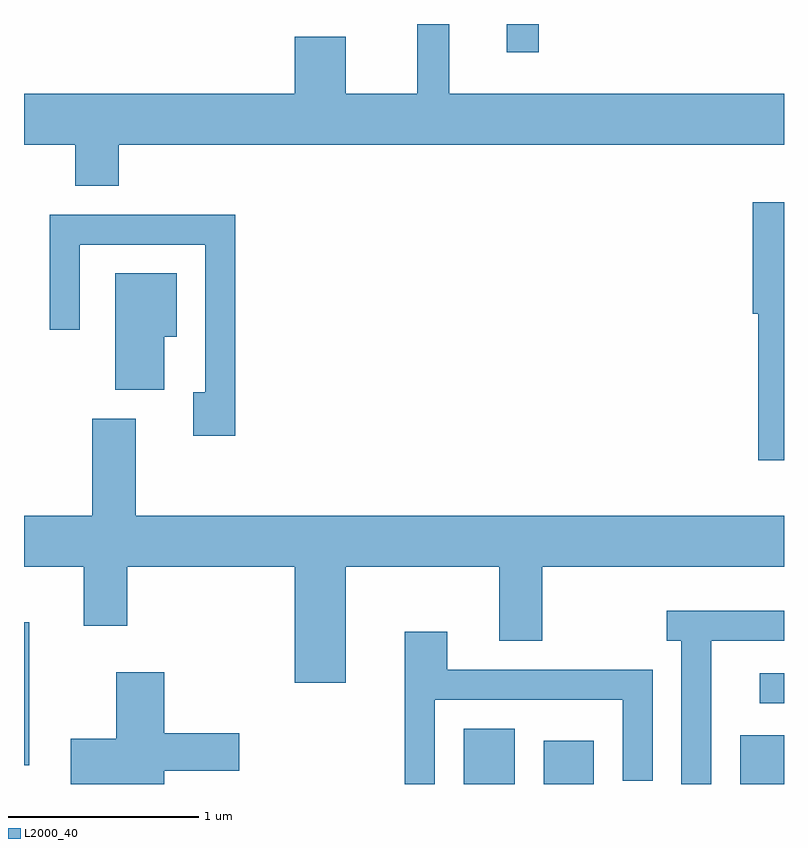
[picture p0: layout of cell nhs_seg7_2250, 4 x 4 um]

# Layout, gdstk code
import gdstk
lib = gdstk.Library(unit=1e-6, precision=1e-09)
def R(c, l, rs):  # rectangles x0, y0, x1, y1
    for r in rs: c.add(gdstk.rectangle(r[:2], r[2:], *l))
def P(c, l, *ps):  # polygons
    for p in ps: c.add(gdstk.Polygon(p, *l))
L2000_40 = (2000, 40)

nhs_seg7_2250 = lib.new_cell('nhs_seg7_2250')
R(nhs_seg7_2250, L2000_40, [(255.926,1744.252,256.194,1744.544), (256.346,1744.252,256.609,1744.479), (257.381,1744.252,257.611,1744.509), (253.611,1744.351,253.639,1745.104), (257.483,1744.676,257.611,1744.834), (256.151,1748.103,256.319,1748.252)])
P(nhs_seg7_2250, L2000_40, [(254.109,1747.616),(257.611,1747.616),(257.611,1747.884),(255.849,1747.884),(255.849,1748.252),(255.681,1748.252),(255.681,1747.884),(255.304,1747.884),(255.304,1748.184),(255.036,1748.184),(255.036,1747.884),(253.611,1747.884),(253.611,1747.616),(253.881,1747.616),(253.881,1747.401),(254.109,1747.401)],
  [(257.611,1747.314),(257.446,1747.314),(257.446,1746.726),(257.476,1746.726),(257.476,1745.956),(257.611,1745.956)],
  [(254.724,1747.249),(253.746,1747.249),(253.746,1746.643),(253.904,1746.643),(253.904,1747.091),(254.566,1747.091),(254.566,1746.314),(254.501,1746.314),(254.501,1746.086),(254.724,1746.086)],
  [(254.349,1746.606),(254.414,1746.606),(254.414,1746.939),(254.091,1746.939),(254.091,1746.326),(254.349,1746.326)],
  [(255.304,1745.396),(256.111,1745.396),(256.111,1745.006),(256.339,1745.006),(256.339,1745.396),(257.611,1745.396),(257.611,1745.664),(254.199,1745.664),(254.199,1746.174),(253.971,1746.174),(253.971,1745.664),(253.611,1745.664),(253.611,1745.396),(253.926,1745.396),(253.926,1745.086),(254.154,1745.086),(254.154,1745.396),(255.036,1745.396),(255.036,1744.786),(255.304,1744.786)],
  [(257.229,1745.006),(257.611,1745.006),(257.611,1745.164),(256.993,1745.164),(256.993,1745.006),(257.071,1745.006),(257.071,1744.252),(257.229,1744.252)],
  [(255.774,1744.696),(256.761,1744.696),(256.761,1744.268),(256.919,1744.268),(256.919,1744.854),(255.839,1744.854),(255.839,1745.054),(255.616,1745.054),(255.616,1744.252),(255.774,1744.252)],
  [(254.349,1744.321),(254.744,1744.321),(254.744,1744.519),(254.349,1744.519),(254.349,1744.839),(254.096,1744.839),(254.096,1744.489),(253.856,1744.489),(253.856,1744.252),(254.349,1744.252)])

lib.write_gds('nhs_seg7_2250.gds')
